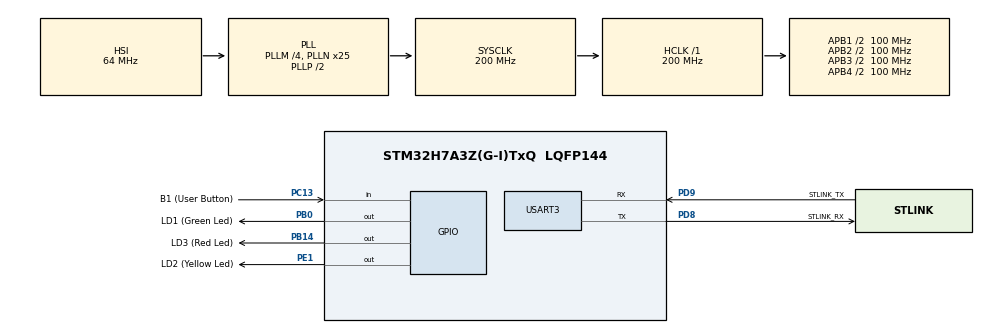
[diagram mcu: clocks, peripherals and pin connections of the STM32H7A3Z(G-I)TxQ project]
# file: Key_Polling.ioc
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CORTEX_M7.default_mode_Activation=1
Mcu.Family=STM32H7
Mcu.Name=STM32H7A3Z(G-I)TxQ
Mcu.Package=LQFP144
NVIC.PriorityGroup=NVIC_PRIORITYGROUP_4
PB0.GPIO_Label=LD1 (Green Led)
PB0.Signal=GPIO_Output
PB14.GPIO_Label=LD3 (Red Led)
PB14.Signal=GPIO_Output
PC13.GPIO_Label=B1 (User Button)
PC13.Signal=GPIO_Input
PC14-OSC32_IN.GPIO_Label=OSC32_IN
PC14-OSC32_IN.Signal=RCC_OSC32_IN
PC15-OSC32_OUT.GPIO_Label=OSC32_OUT
PC15-OSC32_OUT.Signal=RCC_OSC32_OUT
PD8.GPIO_Label=STLINK_RX
PD8.Mode=Asynchronous
PD8.Signal=USART3_TX
PD9.GPIO_Label=STLINK_TX
PD9.Mode=Asynchronous
PD9.Signal=USART3_RX
PE1.GPIO_Label=LD2 (Yellow Led)
PE1.Signal=GPIO_Output
PH0-OSC_IN.GPIO_Label=PH0-MCU
PH0-OSC_IN.Signal=RCC_OSC_IN
PH1-OSC_OUT.GPIO_Label=PH1-MCU
PH1-OSC_OUT.Signal=RCC_OSC_OUT
ProjectManager.HeapSize=0x200
ProjectManager.StackSize=0x400
ProjectManager.TargetToolchain=MDK-ARM V5.32
RCC.ADCFreq_Value=129000000
RCC.APB1Freq_Value=100000000
RCC.APB2Freq_Value=100000000
RCC.APB3Freq_Value=100000000
RCC.APB4Freq_Value=100000000
RCC.CDPPRE=RCC_APB3_DIV2
RCC.CDPPRE1=RCC_APB1_DIV2
RCC.CDPPRE2=RCC_APB2_DIV2
RCC.CortexFreq_Value=200000000
RCC.DIVM1=4
RCC.DIVM3=1
RCC.DIVN1=25
RCC.DIVN3=24
RCC.DIVQ1=4
RCC.HCLKFreq_Value=200000000
RCC.HSE_VALUE=8000000
RCC.PLLFRACN=0
RCC.PWR_Regulator_Voltage_Scale=PWR_REGULATOR_VOLTAGE_SCALE0
RCC.SRDPPRE=RCC_APB4_DIV2
RCC.SYSCLKFreq_VALUE=200000000
RCC.SYSCLKSource=RCC_SYSCLKSOURCE_PLLCLK
RCC.SupplySource=PWR_DIRECT_SMPS_SUPPLY
RCC.USBCLockSelection=RCC_USBCLKSOURCE_HSI48
RCC.USBFreq_Value=48000000
USART3.DMADisableonRxErrorParam=ADVFEATURE_DMA_DISABLEONRXERROR
USART3.OverrunDisableParam=ADVFEATURE_OVERRUN_DISABLE
USART3.VirtualMode-Asynchronous=VM_ASYNC
VP_MEMORYMAP_VS_MEMORYMAP.Mode=CurAppReg
board=NUCLEO-H7A3ZI-Q

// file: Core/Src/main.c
/* USER CODE BEGIN Header */
/**
  ******************************************************************************
  * @file           : main.c
  * @brief          : Main program body
  ******************************************************************************
  * @attention
  *
  * Copyright (c) 2025 STMicroelectronics.
  * All rights reserved.
  *
  * This software is licensed under terms that can be found in the LICENSE file
  * in the root directory of this software component.
  * If no LICENSE file comes with this software, it is provided AS-IS.
  *
  ******************************************************************************
  */
/* USER CODE END Header */
#include "main.h"
#include "memorymap.h"
#include "usart.h"
#include "gpio.h"

/* USER CODE BEGIN Includes */
#include "stdio.h"
#include "bsp_key.h"
/* USER CODE END Includes */

/* USER CODE BEGIN PV */
uint8_t s_KeyCode	;
uint8_t		hal_Rx_Buffers[200];
/* USER CODE END PV */

void SystemClock_Config(void);
static void MPU_Config(void);

int main(void)
{

  /* MPU Configuration--------------------------------------------------------*/
  MPU_Config();

  /* MCU Configuration--------------------------------------------------------*/

  /* Reset of all peripherals, Initializes the Flash interface and the Systick. */
  HAL_Init();

  /* Configure the system clock */
  SystemClock_Config();

  /* Initialize all configured peripherals */
  MX_GPIO_Init();
  MX_USART3_UART_Init();
  /* USER CODE BEGIN 2 */
	bsp_InitKey();
  /* USER CODE END 2 */

  /* Infinite loop */
  /* USER CODE BEGIN WHILE */
  while (1)
  {
	HAL_Delay(10);
	bsp_KeyScan10ms();
	s_KeyCode=bsp_GetKey();
	if(s_KeyCode	!=	KEY_NONE)
	{

		if(s_KeyCode	==	KEY_DOWN_K1)
		{
			printf("Key 1 down\r\n");
		}

		if(s_KeyCode	==	KEY_1_UP)
		{
			printf("Key 1 up\r\n");
		}
		if(s_KeyCode	==	KEY_1_LONG)
		{
			printf("Key 1 long\r\n");
		}
	}

    /* USER CODE END WHILE */

  }
}

void SystemClock_Config(void)
{
  RCC_OscInitTypeDef RCC_OscInitStruct = {0};
  RCC_ClkInitTypeDef RCC_ClkInitStruct = {0};

  /*AXI clock gating */
  RCC->CKGAENR = 0xFFFFFFFF;

  /** Supply configuration update enable
  */
  HAL_PWREx_ConfigSupply(PWR_DIRECT_SMPS_SUPPLY);

  /** Configure the main internal regulator output voltage
  */
  __HAL_PWR_VOLTAGESCALING_CONFIG(PWR_REGULATOR_VOLTAGE_SCALE0);

  while(!__HAL_PWR_GET_FLAG(PWR_FLAG_VOSRDY)) {}

  /** Initializes the RCC Oscillators according to the specified parameters
  * in the RCC_OscInitTypeDef structure.
  */
  RCC_OscInitStruct.OscillatorType = RCC_OSCILLATORTYPE_HSI;
  RCC_OscInitStruct.HSIState = RCC_HSI_DIV1;
  RCC_OscInitStruct.HSICalibrationValue = 64;
  RCC_OscInitStruct.PLL.PLLState = RCC_PLL_ON;
  RCC_OscInitStruct.PLL.PLLSource = RCC_PLLSOURCE_HSI;
  RCC_OscInitStruct.PLL.PLLM = 4;
  RCC_OscInitStruct.PLL.PLLN = 25;
  RCC_OscInitStruct.PLL.PLLP = 2;
  RCC_OscInitStruct.PLL.PLLQ = 4;
  RCC_OscInitStruct.PLL.PLLR = 2;
  RCC_OscInitStruct.PLL.PLLRGE = RCC_PLL1VCIRANGE_3;
  RCC_OscInitStruct.PLL.PLLVCOSEL = RCC_PLL1VCOWIDE;
  RCC_OscInitStruct.PLL.PLLFRACN = 0;
  if (HAL_RCC_OscConfig(&RCC_OscInitStruct) != HAL_OK)
  {
    Error_Handler();
  }

  /** Initializes the CPU, AHB and APB buses clocks
  */
  RCC_ClkInitStruct.ClockType = RCC_CLOCKTYPE_HCLK|RCC_CLOCKTYPE_SYSCLK
                              |RCC_CLOCKTYPE_PCLK1|RCC_CLOCKTYPE_PCLK2
                              |RCC_CLOCKTYPE_D3PCLK1|RCC_CLOCKTYPE_D1PCLK1;
  RCC_ClkInitStruct.SYSCLKSource = RCC_SYSCLKSOURCE_PLLCLK;
  RCC_ClkInitStruct.SYSCLKDivider = RCC_SYSCLK_DIV1;
  RCC_ClkInitStruct.AHBCLKDivider = RCC_HCLK_DIV1;
  RCC_ClkInitStruct.APB3CLKDivider = RCC_APB3_DIV2;
  RCC_ClkInitStruct.APB1CLKDivider = RCC_APB1_DIV2;
  RCC_ClkInitStruct.APB2CLKDivider = RCC_APB2_DIV2;
  RCC_ClkInitStruct.APB4CLKDivider = RCC_APB4_DIV2;

  if (HAL_RCC_ClockConfig(&RCC_ClkInitStruct, FLASH_LATENCY_4) != HAL_OK)
  {
    Error_Handler();
  }
}

/* USER CODE BEGIN 4 */
int fputc(int ch, FILE *f)
{
	while((USART3->ISR&0X40)==0);	//???????,??????????
	USART3->TDR=(uint8_t)ch;
	return ch;
}
/* USER CODE END 4 */

 /* MPU Configuration */

void MPU_Config(void)
{
  MPU_Region_InitTypeDef MPU_InitStruct = {0};

  /* Disables the MPU */
  HAL_MPU_Disable();

  /** Initializes and configures the Region and the memory to be protected
  */
  MPU_InitStruct.Enable = MPU_REGION_ENABLE;
  MPU_InitStruct.Number = MPU_REGION_NUMBER0;
  MPU_InitStruct.BaseAddress = 0x0;
  MPU_InitStruct.Size = MPU_REGION_SIZE_4GB;
  MPU_InitStruct.SubRegionDisable = 0x87;
  MPU_InitStruct.TypeExtField = MPU_TEX_LEVEL0;
  MPU_InitStruct.AccessPermission = MPU_REGION_NO_ACCESS;
  MPU_InitStruct.DisableExec = MPU_INSTRUCTION_ACCESS_DISABLE;
  MPU_InitStruct.IsShareable = MPU_ACCESS_SHAREABLE;
  MPU_InitStruct.IsCacheable = MPU_ACCESS_NOT_CACHEABLE;
  MPU_InitStruct.IsBufferable = MPU_ACCESS_NOT_BUFFERABLE;

  HAL_MPU_ConfigRegion(&MPU_InitStruct);
  /* Enables the MPU */
  HAL_MPU_Enable(MPU_PRIVILEGED_DEFAULT);

}

void Error_Handler(void)
{
  __disable_irq();
  while (1)
  {
  }
}
